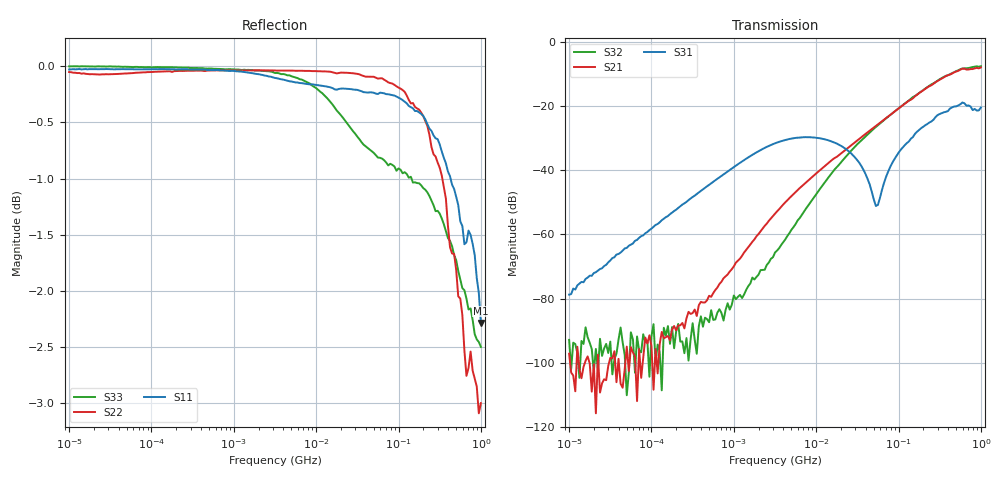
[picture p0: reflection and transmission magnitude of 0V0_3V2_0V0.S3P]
!Keysight Technologies,E5080A,MY55100144,A.11.70.03
!Date: Monday, November 13, 2017 17:24:49
!Correction: S11(Full 3 Port(1,2,3))
!S12(Full 3 Port(1,2,3))
!S13(Full 3 Port(1,2,3))
!S21(Full 3 Port(1,2,3))
!S22(Full 3 Port(1,2,3))
!S23(Full 3 Port(1,2,3))
!S31(Full 3 Port(1,2,3))
!S32(Full 3 Port(1,2,3))
!S33(Full 3 Port(1,2,3))
!S3P File: Measurements: <S11,S12,S13>,
!<S21,S22,S23>,
!<S31,S32,S33>:Log Frequency Sweep
# Hz S  RI  R 50
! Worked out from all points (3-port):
!   201 points, 10 kHz to 1 GHz, reference 50 ohm
!   strongest paths, dB at 10 kHz, 177.8 kHz, 3.162 MHz, 56.23 MHz, 1 GHz:
!     S31: -78.8, -53.2, -31.6, -50.8, -20.5
!     S21: -97.2, -89.7, -53.6, -25.7, -8.0
!     S32: -92.9, -88.9, -65.7, -26.0, -7.6
!   lowest |S11| = -2.3 dB at 1 GHz (marker M1), VSWR 7.65, Z = 382 - j0.309 ohm
!   |S11| at or under -10 dB: nowhere
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10000  0.9967 -0.00615  1.22e-05 -9.38e-06  -5.6e-06 0.000131
       -1.09e-05 -8.48e-06  0.4709 -0.8756  5.63e-06 -1.94e-05
       -7.5e-06 0.000115  -2.26e-05 2.88e-06  1 -0.00255
47315.13  0.9967 -0.0282  2.07e-05 -2.68e-05  8.84e-06 0.000608
          -1.53e-06 7.78e-06  -0.7692 -0.6275  6.91e-06 -8.93e-06
          2.93e-05 0.000603  1.27e-05 -3.46e-06  0.9995 -0.00548
473151.3  0.9575 -0.2752  -5.28e-05 7.96e-05  0.00112 0.00548
          -5.78e-05 7.44e-05  -0.9932 -0.0695  -1.21e-05 4.74e-05
          0.00113 0.0055  -1.75e-06 4.78e-05  0.9966 -0.046
3162278  0.0554 -0.9866  -0.00122 0.0017  0.0207 0.016
         -0.0012 0.00172  -0.9957 0.00465  -0.000397 0.000301
         0.0208 0.0159  -0.000426 0.0003  0.9502 -0.289
2.113489e7  -0.9477 -0.2394  -0.000711 0.0193  0.0184 -0.0138
            -0.000713 0.0193  -0.9887 0.098  -0.00827 0.0118
            0.0184 -0.0138  -0.00829 0.0118  -0.0182 -0.9485
5.308844e7  -0.9712 0.0479  0.00816 0.0483  0.0028 -0.000157
            0.00823 0.0483  -0.9575 0.2449  -0.00586 0.0468
            0.00277 -0.000156  -0.00588 0.0468  -0.7371 -0.5385
1.059254e8  -0.9318 0.2597  0.0379 0.0892  0.00806 0.0191
            0.0381 0.0893  -0.8602 0.464  0.0235 0.0944
            0.00809 0.019  0.0234 0.0943  -0.8949 -0.0909
3.758374e8  -0.3685 0.8271  0.2899 0.033  0.081 -0.00609
            0.2901 0.0328  0.0974 0.8679  0.2897 0.0575
            0.081 -0.00597  0.2894 0.0574  -0.4871 0.69
7.079458e8  0.4642 0.7061  0.1987 -0.3128  0.0119 -0.1015
            0.1985 -0.313  0.6984 0.2264  0.2459 -0.3028
            0.0119 -0.1015  0.2461 -0.3026  0.2567 0.736
1e9  0.7687 -0.000165  -0.1003 -0.3849  -0.0569 -0.0754
     -0.1007 -0.3849  0.5908 -0.3904  -0.0459 -0.4146
     -0.057 -0.0753  -0.0456 -0.4147  0.6825 0.3114
